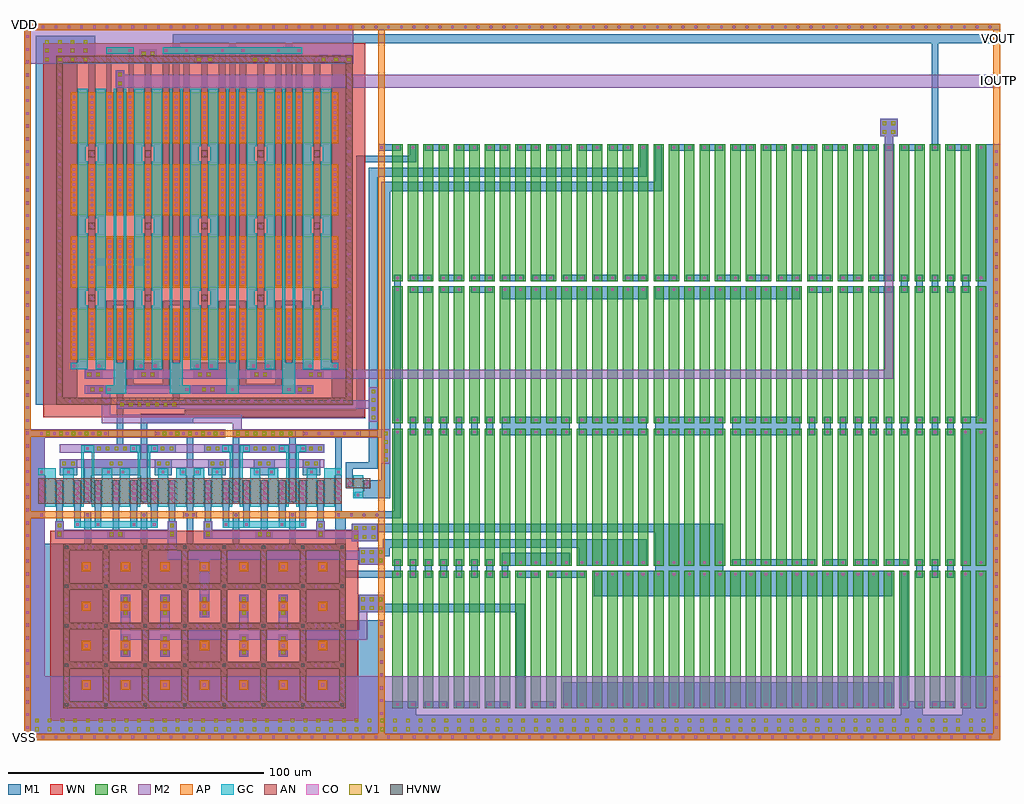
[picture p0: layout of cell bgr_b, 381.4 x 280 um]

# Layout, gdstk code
from math import pi, radians
import gdstk
lib = gdstk.Library(unit=1e-6, precision=1e-07)
def R(c, l, rs):  # rectangles x0, y0, x1, y1
    for r in rs: c.add(gdstk.rectangle(r[:2], r[2:], *l))
def A(c, l, x, y, w, h, nx, ny, dx, dy):  # array of equal rectangles
    R(c, l, [(x+i*dx, y+j*dy, x+i*dx+w, y+j*dy+h) for i in range(nx) for j in range(ny)])
def P(c, l, *ps):  # polygons
    for p in ps: c.add(gdstk.Polygon(p, *l))
AP = (3, 1)
AN = (3, 2)
GC = (8, 1)
GR = (8, 2)
CO = (11, 0)
M1 = (13, 0)
V1 = (19, 0)
M2 = (20, 0)
WN = (140, 0)
HVNW = (141, 0)

via_1 = lib.new_cell('via_1')
R(via_1, M1, [(-1.7,-1.7,1.7,1.7)])
R(via_1, V1, [(-0.7,-0.7,0.7,0.7)])
R(via_1, M2, [(-1.7,-1.7,1.7,1.7)])

res_poly = lib.new_cell('res_poly')
R(res_poly, GR, [(-26.8,-2,26.8,2)])
R(res_poly, CO, [(-26,-0.5,-25,0.5), (25,-0.5,26,0.5)])
R(res_poly, M1, [(-26.8,-1.3,-24.2,1.3), (24.2,-1.3,26.8,1.3)])

cont_p = lib.new_cell('cont_p')
R(cont_p, AP, [(-1.3,-1.3,1.3,1.3)])
R(cont_p, CO, [(-0.5,-0.5,0.5,0.5)])
R(cont_p, M1, [(-1.3,-1.3,1.3,1.3)])

cont_n_1 = lib.new_cell('cont_n$1')
R(cont_n_1, AN, [(-1.3,-1.3,1.3,1.3)])
R(cont_n_1, CO, [(-0.5,-0.5,0.5,0.5)])
R(cont_n_1, M1, [(-1.3,-1.3,1.3,1.3)])

fet_p_1 = lib.new_cell('fet_p$1')
R(fet_p_1, AP, [(-4.8,-10,4.8,10)])
A(fet_p_1, CO, -4, -8.5, 1, 1, 1, 9, 0, 2)
A(fet_p_1, CO, 3, -8.5, 1, 1, 1, 9, 0, 2)
R(fet_p_1, M1, [(-4.8,-9.3,-2.2,9.3), (2.2,-9.3,4.8,9.3)])
fet_p_1.add(gdstk.FlexPath([(0,-11.2),(0,11.2)], 4, ends="flush", simple_path=True, layer=8, datatype=1))  # GC

fet_p = lib.new_cell('fet_p')
R(fet_p, AP, [(-3.3,-10,3.3,10)])
A(fet_p, CO, -2.5, -8.5, 1, 1, 1, 9, 0, 2)
A(fet_p, CO, 1.5, -8.5, 1, 1, 1, 9, 0, 2)
R(fet_p, M1, [(-3.3,-9.3,-0.7,9.3), (0.7,-9.3,3.3,9.3)])
fet_p.add(gdstk.FlexPath([(0,-11.2),(0,11.2)], 1, ends="flush", simple_path=True, layer=8, datatype=1))  # GC

cont_g = lib.new_cell('cont_g')
R(cont_g, GC, [(-1.3,-1.3,1.3,1.3)])
R(cont_g, CO, [(-0.5,-0.5,0.5,0.5)])
R(cont_g, M1, [(-1.3,-1.3,1.3,1.3)])

fet_n_1 = lib.new_cell('fet_n$1')
R(fet_n_1, AN, [(-4.8,-5,4.8,5)])
A(fet_n_1, CO, -4, -3.5, 1, 1, 1, 4, 0, 2)
A(fet_n_1, CO, 3, -3.5, 1, 1, 1, 4, 0, 2)
R(fet_n_1, M1, [(-4.8,-4.3,-2.2,4.3), (2.2,-4.3,4.8,4.3)])
fet_n_1.add(gdstk.FlexPath([(0,-6.2),(0,6.2)], 4, ends="flush", simple_path=True, layer=8, datatype=1))  # GC

cont_n = lib.new_cell('cont_n')
R(cont_n, AN, [(-1.3,-1.3,1.3,1.3)])
R(cont_n, CO, [(-0.5,-0.5,0.5,0.5)])
R(cont_n, M1, [(-1.3,-1.3,1.3,1.3)])

diode_p = lib.new_cell('diode_p')
R(diode_p, AP, [(-1.8,-1.8,1.8,1.8)])
R(diode_p, CO, [(-0.6,-0.6,0.6,0.6)])
R(diode_p, M1, [(-1.8,-1.8,1.8,1.8)])

c_dp = lib.new_cell('dp')
P(c_dp, AN, [(-9,-9),(-9,-3.9),(-6.4,-3.9),(-6.4,-6.4),(-3.9,-6.4),(-3.9,-9)],
  [(3.9,-9),(3.9,-6.4),(6.4,-6.4),(6.4,-3.9),(9,-3.9),(9,-9)],
  [(-9,3.9),(-9,9),(-3.9,9),(-3.9,6.4),(-6.4,6.4),(-6.4,3.9)],
  [(6.4,3.9),(6.4,6.4),(3.9,6.4),(3.9,9),(9,9),(9,3.9)])
P(c_dp, M1, [(-9,-9),(-9,-3.9),(-6.4,-3.9),(-6.4,-6.4),(-3.9,-6.4),(-3.9,-9)],
  [(3.9,-9),(3.9,-6.4),(6.4,-6.4),(6.4,-3.9),(9,-3.9),(9,-9)],
  [(-9,3.9),(-9,9),(-3.9,9),(-3.9,6.4),(-6.4,6.4),(-6.4,3.9)],
  [(6.4,3.9),(6.4,6.4),(3.9,6.4),(3.9,9),(9,9),(9,3.9)])
R(c_dp, WN, [(-14,-14,14,14)])
r = gdstk.Reference(cont_n, (-7.7,-2.6)); r.repetition = gdstk.Repetition(1, 3, v1=(0,0), v2=(0,2.6)); c_dp.add(r)
r = gdstk.Reference(cont_n, (7.7,-2.6)); r.repetition = gdstk.Repetition(1, 3, v1=(0,0), v2=(0,2.6)); c_dp.add(r)
r = gdstk.Reference(cont_n, (-2.6,-7.7)); r.repetition = gdstk.Repetition(3, 1, v1=(2.6,0), v2=(0,0)); c_dp.add(r)
r = gdstk.Reference(cont_n, (-2.6,7.7)); r.repetition = gdstk.Repetition(3, 1, v1=(2.6,0), v2=(0,0)); c_dp.add(r)
c_dp.add(gdstk.Reference(diode_p, (0,0)))
c_dp.add(gdstk.Label('PLUS', (0,0), layer=48, texttype=0))
c_dp.add(gdstk.Label('MINUS', (0,-6.7), layer=48, texttype=0))

fet_n = lib.new_cell('fet_n')
R(fet_n, AN, [(-3.3,-5,3.3,5)])
A(fet_n, CO, -2.5, -3.5, 1, 1, 1, 4, 0, 2)
A(fet_n, CO, 1.5, -3.5, 1, 1, 1, 4, 0, 2)
R(fet_n, M1, [(-3.3,-4.3,-0.7,4.3), (0.7,-4.3,3.3,4.3)])
fet_n.add(gdstk.FlexPath([(0,-6.2),(0,6.2)], 1, ends="flush", simple_path=True, layer=8, datatype=1))  # GC

fet_n_2 = lib.new_cell('fet_n$2')
R(fet_n_2, AN, [(-4.8,-2,4.8,2)])
R(fet_n_2, CO, [(-4,-0.5,-3,0.5), (3,-0.5,4,0.5)])
R(fet_n_2, M1, [(-4.8,-1.3,-2.2,1.3), (2.2,-1.3,4.8,1.3)])
fet_n_2.add(gdstk.FlexPath([(0,-3.2),(0,3.2)], 4, ends="flush", simple_path=True, layer=8, datatype=1))  # GC

bgr_b = lib.new_cell('bgr_b')
P(bgr_b, AP, [(0,0),(0,277.4),(2.6,277.4),(2.6,2.6),(138.4,2.6),(138.4,86.8),(2.6,86.8),(2.6,89.4),(138.4,89.4),(138.4,118.6),(2.6,118.6),(2.6,121.2),(138.4,121.2),(138.4,277.4),(141,277.4),(141,2.6),(378.8,2.6),(378.8,277.4),(0,277.4),(0,280),(381.4,280),(381.4,0)])
P(bgr_b, AN, [(12.6,131.2),(12.6,264.8),(15.2,264.8),(15.2,133.8),(125.8,133.8),(125.8,264.8),(12.6,264.8),(12.6,267.4),(128.4,267.4),(128.4,131.2)])
A(bgr_b, GC, 52.4, 103.6, 4, 2.6, 4, 1, 7, 0)
R(bgr_b, GC, [(19.6,83,52.2,85.6), (77.6,83,110.2,85.6), (128.6,94.6,132.6,97.2), (5.6,103.6,12.4,106.2), (15.4,103.6,19.4,106.2), (30.4,103.6,34.4,106.2), (37.4,103.6,41.4,106.2), (88.4,103.6,92.4,106.2), (95.4,103.6,99.4,106.2), (110.4,103.6,114.4,106.2), (117.4,103.6,124.2,106.2), (18.2,144.9,25,147.5), (28,144.9,32,147.5), (43,144.9,47,147.5), (50,144.9,54,147.5), (65,144.9,69,147.5), (72,144.9,76,147.5), (87,144.9,91,147.5), (94,144.9,98,147.5), (109,144.9,113,147.5), (109,144.9,113,147.5), (116,144.9,122.8,147.5), (21,169.9,24.2,232.1), (28.8,169.9,32,232.1), (43,169.9,46.2,232.1), (50.8,169.9,54,232.1), (65,169.9,68.2,232.1), (72.8,169.9,76,232.1), (87,169.9,90.2,232.1), (94.8,169.9,98,232.1), (109,169.9,112.2,232.1), (116.8,169.9,120,232.1), (32.2,268.3,42.8,270.9), (54.2,268.3,108.8,270.9)])
P(bgr_b, GC, [(32,135.4),(32,138.8),(35,138.8),(35,232.1),(36,232.1),(36,147.5),(39,147.5),(39,232.1),(40,232.1),(40,135.4)],
  [(57,135.4),(57,232.1),(58,232.1),(58,147.5),(61,147.5),(61,232.1),(62,232.1),(62,138.8),(65,138.8),(65,135.4)],
  [(79,135.4),(79,232.1),(80,232.1),(80,147.5),(83,147.5),(83,232.1),(84,232.1),(84,135.4)],
  [(101,135.4),(101,232.1),(102,232.1),(102,147.5),(105,147.5),(105,232.1),(106,232.1),(106,135.4)],
  [(22.4,103.6),(22.4,115.3),(27.4,115.3),(27.4,103.6),(26.4,103.6),(26.4,112.7),(23.4,112.7),(23.4,103.6)],
  [(48.4,103.6),(48.4,115.3),(52.3,115.3),(52.3,112.7),(49.4,112.7),(49.4,103.6)],
  [(44.4,103.6),(44.4,112.7),(41.5,112.7),(41.5,115.3),(45.4,115.3),(45.4,103.6)],
  [(84.4,103.6),(84.4,115.3),(88.3,115.3),(88.3,112.7),(85.4,112.7),(85.4,103.6)],
  [(80.4,103.6),(80.4,112.7),(77.5,112.7),(77.5,115.3),(81.4,115.3),(81.4,103.6)],
  [(106.4,103.6),(106.4,115.3),(110.3,115.3),(110.3,112.7),(107.4,112.7),(107.4,103.6)],
  [(102.4,103.6),(102.4,112.7),(99.5,112.7),(99.5,115.3),(103.4,115.3),(103.4,103.6)])
A(bgr_b, M1, 159.3, 12.6, 3.4, 2.6, 3, 1, 12, 0)
A(bgr_b, M1, 37.9, 48, 3.6, 8.8, 5, 1, 15.4, 0)
A(bgr_b, M1, 150.7, 66.2, 2.6, 2, 6, 2, 6, 55.6)
A(bgr_b, M1, 348.7, 66.2, 2.6, 2, 3, 1, 6, 0)
A(bgr_b, M1, 315.3, 68.2, 3.4, 2.6, 3, 1, 12, 0)
A(bgr_b, M1, 12.6, 78.8, 2.6, 14.3, 3, 1, 22, 0)
A(bgr_b, M1, 70.6, 78.8, 2.6, 14.3, 3, 1, 22, 0)
A(bgr_b, M1, 186.7, 119.2, 26.6, 7.2, 4, 1, 30, 0)
A(bgr_b, M1, 306.7, 121.8, 2.6, 2, 10, 1, 6, 0)
A(bgr_b, M1, 153.3, 174.8, 3.4, 2.6, 3, 1, 12, 0)
A(bgr_b, M1, 309.3, 174.8, 3.4, 2.6, 3, 1, 12, 0)
A(bgr_b, M1, 342.7, 177.4, 2.6, 2, 5, 1, 6, 0)
A(bgr_b, M1, 153.3, 179.4, 3.4, 2.6, 16, 1, 12, 0)
A(bgr_b, M1, 159.3, 230.4, 3.4, 2.6, 7, 1, 12, 0)
A(bgr_b, M1, 255.3, 230.4, 3.4, 2.6, 7, 1, 12, 0)
R(bgr_b, M1, [(201.3,12.6,204.7,15.2), (210.7,12.6,339.3,22.6), (357.3,12.6,360.7,15.2), (37.9,32.6,41.5,41.4), (53.3,32.6,56.9,41.4), (84.1,32.6,87.7,41.4), (99.5,32.6,103.1,41.4), (195.3,63.6,198.7,66.2), (207.3,63.6,216.7,66.2), (279.3,68.2,306.7,70.8), (23.6,76.8,26.2,86.8), (45.6,76.8,48.2,86.8), (63.6,76.8,66.2,121.6), (81.6,76.8,84.2,86.8), (103.6,76.8,106.2,86.8), (19.6,83,22.2,93.1), (27.6,83,30.2,93.1), (41.6,83,44.2,93.1), (49.6,83,52.2,93.1), (77.6,83,80.2,93.1), (85.6,83,88.2,93.1), (99.6,83,102.2,93.1), (107.6,83,110.2,93.1), (14,103.6,20.8,109.8), (51,103.6,57.8,109.8), (63.4,103.6,66.4,106.2), (63.4,103.6,66.4,106.2), (72,103.6,78.8,109.8), (89.8,103.6,98,109.8), (109,103.6,115.8,109.8), (23.6,112.3,44.1,115.7), (36.2,112.3,38.8,149.4), (49.7,112.3,59.3,115.7), (70.5,112.3,80.1,115.7), (85.7,112.3,102.1,115.7), (107.7,112.3,117.3,115.7), (5.6,118.2,33.2,121.6), (51.1,118.2,78.7,121.6), (58.2,129.5,60.8,149.4), (25,135.4,34.6,138.8), (62.4,135.4,82.8,138.8), (102.2,135.4,113,138.8), (28,141.3,30.6,147.5), (44.4,141.3,52.6,147.5), (88.4,141.3,96.6,147.5), (25.2,168,27.8,267.4), (47.2,168,49.8,267.4), (69.2,168,71.8,267.8), (91.2,168,93.8,267.8), (113.2,168,115.8,267.4), (186.7,172.4,243.3,177.4), (246.7,172.4,303.3,177.4), (27.8,185.6,47.2,188.2), (54.2,196.2,56.8,270.9), (62.2,196.2,64.8,270.9), (76.2,196.2,78.8,270.9), (84.2,196.2,86.8,270.9), (98.2,196.2,100.8,270.9), (106.2,196.2,108.8,270.9), (32.2,224.4,34.8,252.6), (36.2,224.4,38.8,261.8), (40.2,224.4,42.8,252.6), (141,230.4,144.7,233), (336.3,230.4,339.7,239.4), (345.3,230.4,348.7,233), (363.3,230.4,366.7,233)])
P(bgr_b, M1, [(0,0),(0,58.8),(33.3,58.8),(33.3,30.6),(61.5,30.6),(61.5,46),(79.5,46),(79.5,30.6),(107.7,30.6),(107.7,58.8),(0,58.8),(0,280),(381.4,280),(381.4,277.4),(2.6,277.4),(2.6,121.6),(8.2,121.6),(8.2,76.8),(121.6,76.8),(121.6,89.4),(144.7,89.4),(144.7,182),(147.3,182),(147.3,86.8),(125.7,86.8),(125.7,66.2),(144.7,66.2),(144.7,68.2),(147.3,68.2),(147.3,63.6),(125.7,63.6),(125.7,46.8),(141,46.8),(141,15.2),(153.3,15.2),(153.3,10),(342.7,10),(342.7,63.6),(345.3,63.6),(345.3,15.2),(351.3,15.2),(351.3,10),(366.7,10),(366.7,126.4),(372.7,126.4),(372.7,233),(381.4,233),(381.4,0)],
  [(58.2,196.2),(58.2,275.8),(381.4,275.8),(381.4,272.4),(357.3,272.4),(357.3,233),(354.7,233),(354.7,272.4),(104.8,272.4),(104.8,196.2),(102.2,196.2),(102.2,272.4),(82.8,272.4),(82.8,196.2),(80.2,196.2),(80.2,272.4),(60.8,272.4),(60.8,196.2)],
  [(222.7,56.2),(222.7,66.2),(246.7,66.2),(246.7,81.2),(128,81.2),(128,84.6),(273.3,84.6),(273.3,66.2),(339.3,66.2),(339.3,56.2)],
  [(216.7,68.2),(216.7,75.2),(143,75.2),(143,71.9),(140.2,71.9),(140.2,78.6),(243.3,78.6),(243.3,68.2)],
  [(192.3,12.6),(192.3,50),(130.8,50),(130.8,53.4),(195.7,53.4),(195.7,12.6)],
  [(4.6,131.2),(4.6,275.4),(27.8,275.4),(27.8,264.4),(20.8,264.4),(20.8,133.8),(34.2,133.8),(34.2,131.2)],
  [(62.8,131.2),(62.8,133.8),(120.2,133.8),(120.2,264.8),(113.2,264.8),(113.2,267.4),(128.4,267.4),(128.4,131.2)],
  [(131.9,94.6),(131.9,97.2),(132.8,97.2),(132.8,101.7),(139.7,101.7),(139.7,218.2),(246.7,218.2),(246.7,230.4),(249.3,230.4),(249.3,214.6),(143.1,214.6),(143.1,94.6)],
  [(40.2,250),(40.2,252.6),(41,252.6),(41,270.9),(42.8,270.9),(42.8,250)],
  [(32.2,250),(32.2,270.9),(34,270.9),(34,252.6),(34.8,252.6),(34.8,250)],
  [(66.4,141.3),(66.4,147.5),(80.2,147.5),(80.2,149.4),(82.8,149.4),(82.8,141.3)],
  [(40.2,137.3),(40.2,170),(34.8,170),(34.8,168),(32.2,168),(32.2,171.8),(42.8,171.8),(42.8,139.3),(54.2,139.3),(54.2,171.8),(64.8,171.8),(64.8,168),(62.2,168),(62.2,170),(56.8,170),(56.8,137.3)],
  [(84.2,137.3),(84.2,170),(78.8,170),(78.8,168),(76.2,168),(76.2,171.8),(86.8,171.8),(86.8,139.3),(98.2,139.3),(98.2,171.8),(108.8,171.8),(108.8,168),(106.2,168),(106.2,170),(100.8,170),(100.8,137.3)],
  [(102.2,141.3),(102.2,149.4),(104.8,149.4),(104.8,147.5),(113,147.5),(113,141.3)],
  [(23.6,101.7),(23.6,109.8),(45.6,109.8),(45.6,127.5),(62.8,127.5),(62.8,129.2),(129.9,129.2),(129.9,228.4),(150.7,228.4),(150.7,230.4),(153.3,230.4),(153.3,225.8),(133.3,225.8),(133.3,125.8),(66.2,125.8),(66.2,124.1),(48.2,124.1),(48.2,101.7),(45.6,101.7),(45.6,103.6),(26.2,103.6),(26.2,101.7)],
  [(81.6,101.7),(81.6,121.6),(106.2,121.6),(106.2,101.7),(103.6,101.7),(103.6,118.2),(84.2,118.2),(84.2,101.7)],
  [(121.6,89.4),(121.6,118.6),(109,118.6),(109,121.2),(131.6,121.2),(131.6,118.6),(124.2,118.6),(124.2,89.4)],
  [(125.8,101.7),(125.8,108.7),(134.8,108.7),(134.8,223.8),(240.7,223.8),(240.7,230.4),(243.3,230.4),(243.3,220.2),(138.2,220.2),(138.2,106.1),(128.4,106.1),(128.4,101.7)],
  [(186.7,66.2),(186.7,73.2),(213.3,73.2),(213.3,68.2),(189.3,68.2),(189.3,66.2)])
R(bgr_b, M2, [(37.9,32.6,41.5,41.4), (53.3,32.6,56.9,41.4), (84.1,32.6,87.7,41.4), (37.9,48,41.5,56.8), (53.3,48,56.9,56.8), (84.1,48,87.7,56.8), (99.5,48,103.1,56.8), (73.6,78.8,138.2,82.2), (14,106.4,117.3,109.8), (14,112.3,117.3,115.7), (36.2,129.5,138.2,132.9), (23.8,141.3,339.7,144.7), (336.3,141.3,339.7,239.4), (35.8,255,381.4,260), (0,264.4,128.7,280)])
P(bgr_b, M2, [(0,0),(0,121.6),(78.7,121.6),(78.7,118.2),(8.2,118.2),(8.2,25),(381.4,25),(381.4,0)],
  [(68.7,48),(68.7,70.6),(56.2,70.6),(56.2,78.8),(15.6,78.8),(15.6,82.2),(59.6,82.2),(59.6,74),(141,74),(141,70.6),(72.3,70.6),(72.3,48)],
  [(99.5,32.6),(99.5,39.3),(37.9,39.3),(37.9,48),(41.5,48),(41.5,42.9),(53.3,42.9),(53.3,48),(56.9,48),(56.9,42.9),(84.1,42.9),(84.1,48),(87.7,48),(87.7,42.9),(99.5,42.9),(99.5,48),(103.1,48),(103.1,42.9),(130.8,42.9),(130.8,53.4),(134.2,53.4),(134.2,39.3),(103.1,39.3),(103.1,32.6)],
  [(81.6,118.2),(81.6,123.8),(30.3,123.8),(30.3,135.4),(23.8,135.4),(23.8,138.8),(113,138.8),(113,135.4),(33.7,135.4),(33.7,127.2),(85,127.2),(85,121.6),(143.1,121.6),(143.1,118.2)])
R(bgr_b, WN, [(7.6,126.2,133.4,272.4)])
A(bgr_b, HVNW, 16, 13.3, 1.2, 1.2, 8, 5, 15.4, 15.4)
r = gdstk.Reference(via_1, (5,4.3)); r.repetition = gdstk.Repetition(75, 2, v1=(5,0), v2=(0,3.4)); bgr_b.add(r)
r = gdstk.Reference(res_poly, (146,206.2), rotation=3*pi/2); r.repetition = gdstk.Repetition(4, 39, v1=(0,-55.6), v2=(6,0)); bgr_b.add(r)
r = gdstk.Reference(cont_p, (2.5,1.3)); r.repetition = gdstk.Repetition(76, 1, v1=(5,0), v2=(0,0)); bgr_b.add(r)
r = gdstk.Reference(cont_p, (1.3,5)); r.repetition = gdstk.Repetition(1, 55, v1=(0,0), v2=(0,5)); bgr_b.add(r)
r = gdstk.Reference(cont_p, (380.1,5)); r.repetition = gdstk.Repetition(1, 46, v1=(0,0), v2=(0,5)); bgr_b.add(r)
r = gdstk.Reference(cont_p, (2.5,278.7)); r.repetition = gdstk.Repetition(76, 1, v1=(5,0), v2=(0,0)); bgr_b.add(r)
r = gdstk.Reference(cont_n_1, (127.1,135.1)); r.repetition = gdstk.Repetition(1, 26, v1=(0,0), v2=(0,5)); bgr_b.add(r)
r = gdstk.Reference(cont_n_1, (13.9,135.1)); r.repetition = gdstk.Repetition(1, 26, v1=(0,0), v2=(0,5)); bgr_b.add(r)
r = gdstk.Reference(via_1, (336.3,237.7)); r.repetition = gdstk.Repetition(2, 2, v1=(3.4,0), v2=(0,3.4)); bgr_b.add(r)
r = gdstk.Reference(via_1, (90.8,143)); r.repetition = gdstk.Repetition(2, 1, v1=(3.4,0), v2=(0,0)); bgr_b.add(r)
bgr_b.add(gdstk.Reference(fet_p_1, (96,243.3)))
bgr_b.add(gdstk.Reference(fet_p_1, (118,215.1)))
r = gdstk.Reference(cont_n_1, (26.5,172.8)); r.repetition = gdstk.Repetition(5, 3, v1=(22,0), v2=(0,28.2)); bgr_b.add(r)
bgr_b.add(gdstk.Reference(fet_p_1, (96,158.7)))
bgr_b.add(gdstk.Reference(fet_p_1, (74,215.1)))
bgr_b.add(gdstk.Reference(fet_p, (79.5,215.1)))
bgr_b.add(gdstk.Reference(fet_p, (83.5,215.1)))
bgr_b.add(gdstk.Reference(fet_p_1, (89,215.1)))
bgr_b.add(gdstk.Reference(fet_p_1, (96,215.1)))
bgr_b.add(gdstk.Reference(fet_p, (101.5,215.1)))
bgr_b.add(gdstk.Reference(fet_p, (105.5,215.1)))
bgr_b.add(gdstk.Reference(fet_p_1, (111,215.1)))
bgr_b.add(gdstk.Reference(fet_p_1, (96,186.9)))
bgr_b.add(gdstk.Reference(fet_p_1, (67,215.1)))
bgr_b.add(gdstk.Reference(fet_p, (61.5,215.1)))
bgr_b.add(gdstk.Reference(fet_p, (57.5,215.1)))
bgr_b.add(gdstk.Reference(fet_p_1, (52,215.1)))
bgr_b.add(gdstk.Reference(fet_p_1, (23,215.1)))
bgr_b.add(gdstk.Reference(fet_p_1, (30,215.1)))
bgr_b.add(gdstk.Reference(fet_p, (35.5,215.1)))
bgr_b.add(gdstk.Reference(fet_p, (39.5,215.1)))
bgr_b.add(gdstk.Reference(fet_p_1, (45,215.1)))
bgr_b.add(gdstk.Reference(cont_g, (95.3,146.2)))
r = gdstk.Reference(via_1, (90.3,266.1)); r.repetition = gdstk.Repetition(2, 1, v1=(4.4,0), v2=(0,0)); bgr_b.add(r)
r = gdstk.Reference(cont_n_1, (114.5,266.1)); r.repetition = gdstk.Repetition(3, 1, v1=(5,0), v2=(0,0)); bgr_b.add(r)
bgr_b.add(gdstk.Reference(cont_p, (139.7,231.7)))
bgr_b.add(gdstk.Reference(fet_p, (105.5,243.3)))
bgr_b.add(gdstk.Reference(fet_p_1, (118,243.3)))
r = gdstk.Reference(cont_g, (99.5,269.6)); r.repetition = gdstk.Repetition(2, 1, v1=(8,0), v2=(0,0)); bgr_b.add(r)
bgr_b.add(gdstk.Reference(fet_p_1, (111,243.3)))
bgr_b.add(gdstk.Reference(fet_p, (101.5,243.3)))
r = gdstk.Reference(via_1, (117,266.1)); r.repetition = gdstk.Repetition(3, 1, v1=(5,0), v2=(0,0)); bgr_b.add(r)
r = gdstk.Reference(cont_g, (55.5,269.6)); r.repetition = gdstk.Repetition(2, 1, v1=(8,0), v2=(0,0)); bgr_b.add(r)
r = gdstk.Reference(cont_g, (77.5,269.6)); r.repetition = gdstk.Repetition(2, 1, v1=(8,0), v2=(0,0)); bgr_b.add(r)
r = gdstk.Reference(cont_g, (33.5,269.6)); r.repetition = gdstk.Repetition(2, 1, v1=(8,0), v2=(0,0)); bgr_b.add(r)
bgr_b.add(gdstk.Reference(fet_p, (35.5,243.3)))
bgr_b.add(gdstk.Reference(fet_p, (39.5,243.3)))
bgr_b.add(gdstk.Reference(fet_p_1, (45,243.3)))
bgr_b.add(gdstk.Reference(fet_p_1, (74,243.3)))
bgr_b.add(gdstk.Reference(fet_p, (79.5,243.3)))
bgr_b.add(gdstk.Reference(fet_p, (83.5,243.3)))
r = gdstk.Reference(cont_n_1, (70.5,266.1)); r.repetition = gdstk.Repetition(1, 1, v1=(0,0), v2=(0,0)); bgr_b.add(r)
bgr_b.add(gdstk.Reference(fet_p_1, (89,243.3)))
r = gdstk.Reference(cont_n_1, (16.5,266.1)); r.repetition = gdstk.Repetition(3, 1, v1=(5,0), v2=(0,0)); bgr_b.add(r)
bgr_b.add(gdstk.Reference(fet_p_1, (67,243.3)))
bgr_b.add(gdstk.Reference(fet_p, (61.5,243.3)))
bgr_b.add(gdstk.Reference(fet_p, (57.5,243.3)))
bgr_b.add(gdstk.Reference(fet_p_1, (52,243.3)))
bgr_b.add(gdstk.Reference(fet_p_1, (23,243.3)))
bgr_b.add(gdstk.Reference(fet_p_1, (30,243.3)))
r = gdstk.Reference(via_1, (37.5,256.7)); r.repetition = gdstk.Repetition(1, 2, v1=(0,0), v2=(0,3.4)); bgr_b.add(r)
r = gdstk.Reference(via_1, (46.8,268.3)); r.repetition = gdstk.Repetition(2, 1, v1=(3.4,0), v2=(0,0)); bgr_b.add(r)
r = gdstk.Reference(via_1, (68.3,266.1)); r.repetition = gdstk.Repetition(2, 1, v1=(4.4,0), v2=(0,0)); bgr_b.add(r)
r = gdstk.Reference(cont_n_1, (48.5,266.1)); r.repetition = gdstk.Repetition(1, 1, v1=(0,0), v2=(0,0)); bgr_b.add(r)
r = gdstk.Reference(cont_n_1, (92.5,266.1)); r.repetition = gdstk.Repetition(1, 1, v1=(0,0), v2=(0,0)); bgr_b.add(r)
r = gdstk.Reference(via_1, (9,266.1)); r.repetition = gdstk.Repetition(4, 3, v1=(5,0), v2=(0,3.4)); bgr_b.add(r)
bgr_b.add(gdstk.Reference(fet_p, (79.5,158.7)))
bgr_b.add(gdstk.Reference(fet_p_1, (30,158.7)))
bgr_b.add(gdstk.Reference(fet_p, (35.5,158.7)))
bgr_b.add(gdstk.Reference(fet_p, (39.5,158.7)))
bgr_b.add(gdstk.Reference(fet_p_1, (45,158.7)))
bgr_b.add(gdstk.Reference(fet_p_1, (52,186.9)))
bgr_b.add(gdstk.Reference(fet_p_1, (74,158.7)))
bgr_b.add(gdstk.Reference(fet_p_1, (67,186.9)))
bgr_b.add(gdstk.Reference(fet_p, (83.5,158.7)))
bgr_b.add(gdstk.Reference(fet_p_1, (23,186.9)))
bgr_b.add(gdstk.Reference(fet_p, (61.5,186.9)))
bgr_b.add(gdstk.Reference(fet_p, (57.5,186.9)))
bgr_b.add(gdstk.Reference(fet_p_1, (89,158.7)))
bgr_b.add(gdstk.Reference(fet_p_1, (30,186.9)))
bgr_b.add(gdstk.Reference(fet_p_1, (67,158.7)))
bgr_b.add(gdstk.Reference(fet_p, (61.5,158.7)))
bgr_b.add(gdstk.Reference(fet_p, (57.5,158.7)))
bgr_b.add(gdstk.Reference(fet_p_1, (52,158.7)))
bgr_b.add(gdstk.Reference(fet_p, (35.5,186.9)))
bgr_b.add(gdstk.Reference(fet_p_1, (74,186.9)))
bgr_b.add(gdstk.Reference(fet_p, (79.5,186.9)))
bgr_b.add(gdstk.Reference(fet_p, (39.5,186.9)))
bgr_b.add(gdstk.Reference(cont_g, (29.3,146.2)))
bgr_b.add(gdstk.Reference(cont_g, (67.7,146.2)))
bgr_b.add(gdstk.Reference(cont_g, (51.3,146.2)))
bgr_b.add(gdstk.Reference(cont_g, (45.7,146.2)))
r = gdstk.Reference(via_1, (46.8,143)); r.repetition = gdstk.Repetition(2, 1, v1=(3.4,0), v2=(0,0)); bgr_b.add(r)
bgr_b.add(gdstk.Reference(cont_g, (89.7,146.2)))
bgr_b.add(gdstk.Reference(cont_g, (19.5,146.2)))
bgr_b.add(gdstk.Reference(cont_g, (73.3,146.2)))
bgr_b.add(gdstk.Reference(fet_p, (83.5,186.9)))
bgr_b.add(gdstk.Reference(fet_p_1, (89,186.9)))
bgr_b.add(gdstk.Reference(fet_p_1, (45,186.9)))
bgr_b.add(gdstk.Reference(fet_p_1, (23,158.7)))
r = gdstk.Reference(via_1, (68.8,143)); r.repetition = gdstk.Repetition(2, 1, v1=(3.4,0), v2=(0,0)); bgr_b.add(r)
r = gdstk.Reference(via_1, (25.5,143)); r.repetition = gdstk.Repetition(2, 1, v1=(3.4,0), v2=(0,0)); bgr_b.add(r)
bgr_b.add(gdstk.Reference(cont_g, (111.7,146.2)))
bgr_b.add(gdstk.Reference(fet_p_1, (118,186.9)))
bgr_b.add(gdstk.Reference(fet_p, (101.5,186.9)))
bgr_b.add(gdstk.Reference(fet_p_1, (111,186.9)))
bgr_b.add(gdstk.Reference(fet_p, (105.5,186.9)))
bgr_b.add(gdstk.Reference(fet_p, (105.5,158.7)))
bgr_b.add(gdstk.Reference(cont_g, (121.5,146.2)))
r = gdstk.Reference(via_1, (112.1,143)); r.repetition = gdstk.Repetition(2, 1, v1=(3.4,0), v2=(0,0)); bgr_b.add(r)
bgr_b.add(gdstk.Reference(fet_p_1, (111,158.7)))
bgr_b.add(gdstk.Reference(fet_p_1, (118,158.7)))
bgr_b.add(gdstk.Reference(fet_p, (101.5,158.7)))
r = gdstk.Reference(cont_n_1, (64.1,132.5)); r.repetition = gdstk.Repetition(13, 1, v1=(5,0), v2=(0,0)); bgr_b.add(r)
bgr_b.add(gdstk.Reference(fet_n_1, (97.4,97.4)))
r = gdstk.Reference(via_1, (92.2,108.1)); r.repetition = gdstk.Repetition(2, 1, v1=(3.4,0), v2=(0,0)); bgr_b.add(r)
r = gdstk.Reference(via_1, (90.5,114)); r.repetition = gdstk.Repetition(3, 1, v1=(3.4,0), v2=(0,0)); bgr_b.add(r)
r = gdstk.Reference(c_dp, (24.3,21.6)); r.repetition = gdstk.Repetition(7, 4, v1=(15.4,0), v2=(0,15.4)); bgr_b.add(r)
r = gdstk.Reference(via_1, (83.7,119.9)); r.repetition = gdstk.Repetition(7, 1, v1=(3.4,0), v2=(0,0)); bgr_b.add(r)
r = gdstk.Reference(via_1, (92.2,80.5)); r.repetition = gdstk.Repetition(2, 1, v1=(3.4,0), v2=(0,0)); bgr_b.add(r)
r = gdstk.Reference(via_1, (132.5,70.2)); r.repetition = gdstk.Repetition(3, 2, v1=(3.4,0), v2=(0,3.4)); bgr_b.add(r)
bgr_b.add(gdstk.Reference(cont_g, (96.7,104.9)))
r = gdstk.Reference(via_1, (110.7,108.1)); r.repetition = gdstk.Repetition(2, 1, v1=(3.4,0), v2=(0,0)); bgr_b.add(r)
bgr_b.add(gdstk.Reference(cont_g, (109,114)))
bgr_b.add(gdstk.Reference(cont_g, (103.5,137.1)))
bgr_b.add(gdstk.Reference(cont_p, (104.9,88.1)))
r = gdstk.Reference(via_1, (136.5,126.1)); r.repetition = gdstk.Repetition(1, 4, v1=(0,0), v2=(0,3.4)); bgr_b.add(r)
bgr_b.add(gdstk.Reference(fet_n, (102.9,97.4)))
r = gdstk.Reference(via_1, (112.2,114)); r.repetition = gdstk.Repetition(2, 1, v1=(3.4,0), v2=(0,0)); bgr_b.add(r)
r = gdstk.Reference(via_1, (107.9,137.1)); r.repetition = gdstk.Repetition(2, 1, v1=(3.4,0), v2=(0,0)); bgr_b.add(r)
r = gdstk.Reference(via_1, (141.4,109.7)); r.repetition = gdstk.Repetition(1, 4, v1=(0,0), v2=(0,3.4)); bgr_b.add(r)
bgr_b.add(gdstk.Reference(cont_g, (130.6,95.9)))
bgr_b.add(gdstk.Reference(fet_n_1, (112.4,97.4)))
r = gdstk.Reference(via_1, (115.9,80.5)); r.repetition = gdstk.Repetition(1, 2, v1=(0,0), v2=(0,3.4)); bgr_b.add(r)
bgr_b.add(gdstk.Reference(fet_n, (106.9,97.4)))
bgr_b.add(gdstk.Reference(fet_n_1, (119.4,97.4)))
bgr_b.add(gdstk.Reference(cont_g, (112.4,104.9)))
r = gdstk.Reference(cont_p, (110.3,119.9)); r.repetition = gdstk.Repetition(5, 1, v1=(5,0), v2=(0,0)); bgr_b.add(r)
bgr_b.add(gdstk.Reference(cont_g, (100.8,114)))
r = gdstk.Reference(cont_g, (100.9,84.3)); r.repetition = gdstk.Repetition(2, 1, v1=(8,0), v2=(0,0)); bgr_b.add(r)
bgr_b.add(gdstk.Reference(cont_g, (122.9,104.9)))
bgr_b.add(gdstk.Reference(fet_n_2, (130.6,100.4)))
r = gdstk.Reference(via_1, (129.7,79.5)); r.repetition = gdstk.Repetition(3, 2, v1=(3.4,0), v2=(0,3.4)); bgr_b.add(r)
r = gdstk.Reference(cont_p, (122.9,88.1)); r.repetition = gdstk.Repetition(4, 1, v1=(5,0), v2=(0,0)); bgr_b.add(r)
bgr_b.add(gdstk.Reference(fet_n_1, (90.4,97.4)))
r = gdstk.Reference(cont_p, (63.6,88.1)); r.repetition = gdstk.Repetition(2, 1, v1=(2.6,0), v2=(0,0)); bgr_b.add(r)
bgr_b.add(gdstk.Reference(cont_g, (87,114)))
bgr_b.add(gdstk.Reference(cont_g, (63.7,137.1)))
bgr_b.add(gdstk.Reference(cont_g, (38.7,104.9)))
bgr_b.add(gdstk.Reference(cont_g, (75.4,104.9)))
r = gdstk.Reference(cont_g, (78.9,84.3)); r.repetition = gdstk.Repetition(2, 1, v1=(8,0), v2=(0,0)); bgr_b.add(r)
bgr_b.add(gdstk.Reference(fet_n_1, (68.4,97.4)))
bgr_b.add(gdstk.Reference(cont_g, (81.5,137.1)))
bgr_b.add(gdstk.Reference(fet_n_1, (39.4,97.4)))
r = gdstk.Reference(via_1, (29.3,114)); r.repetition = gdstk.Repetition(4, 1, v1=(3.4,0), v2=(0,0)); bgr_b.add(r)
r = gdstk.Reference(via_1, (54.2,114)); r.repetition = gdstk.Repetition(2, 1, v1=(3.4,0), v2=(0,0)); bgr_b.add(r)
bgr_b.add(gdstk.Reference(cont_g, (54.4,104.9)))
bgr_b.add(gdstk.Reference(cont_g, (62.1,104.9)))
bgr_b.add(gdstk.Reference(fet_n, (48.9,97.4)))
bgr_b.add(gdstk.Reference(cont_g, (91.1,104.9)))
bgr_b.add(gdstk.Reference(fet_n_1, (54.4,97.4)))
bgr_b.add(gdstk.Reference(fet_n_1, (75.4,97.4)))
bgr_b.add(gdstk.Reference(fet_n, (80.9,97.4)))
bgr_b.add(gdstk.Reference(cont_p, (82.9,88.1)))
r = gdstk.Reference(via_1, (72.2,114)); r.repetition = gdstk.Repetition(2, 1, v1=(3.4,0), v2=(0,0)); bgr_b.add(r)
bgr_b.add(gdstk.Reference(cont_p, (46.9,88.1)))
r = gdstk.Reference(via_1, (70.3,137.1)); r.repetition = gdstk.Repetition(2, 1, v1=(3.4,0), v2=(0,0)); bgr_b.add(r)
bgr_b.add(gdstk.Reference(fet_n, (84.9,97.4)))
r = gdstk.Reference(cont_g, (42.9,84.3)); r.repetition = gdstk.Repetition(2, 1, v1=(8,0), v2=(0,0)); bgr_b.add(r)
r = gdstk.Reference(cont_g, (20.9,84.3)); r.repetition = gdstk.Repetition(2, 1, v1=(8,0), v2=(0,0)); bgr_b.add(r)
bgr_b.add(gdstk.Reference(cont_g, (51,114)))
bgr_b.add(gdstk.Reference(cont_g, (78.8,114)))
bgr_b.add(gdstk.Reference(cont_g, (67.7,104.9)))
bgr_b.add(gdstk.Reference(fet_n_1, (61.4,97.4)))
bgr_b.add(gdstk.Reference(fet_n, (44.9,97.4)))
bgr_b.add(gdstk.Reference(cont_g, (33.1,104.9)))
bgr_b.add(gdstk.Reference(fet_n_1, (32.4,97.4)))
r = gdstk.Reference(cont_p, (52.4,119.9)); r.repetition = gdstk.Repetition(6, 1, v1=(5,0), v2=(0,0)); bgr_b.add(r)
r = gdstk.Reference(via_1, (34.2,108.1)); r.repetition = gdstk.Repetition(2, 1, v1=(3.4,0), v2=(0,0)); bgr_b.add(r)
r = gdstk.Reference(via_1, (57.9,80.5)); r.repetition = gdstk.Repetition(1, 2, v1=(0,0), v2=(0,3.4)); bgr_b.add(r)
r = gdstk.Reference(via_1, (71.9,80.5)); r.repetition = gdstk.Repetition(1, 2, v1=(0,0), v2=(0,3.4)); bgr_b.add(r)
r = gdstk.Reference(via_1, (34.2,80.5)); r.repetition = gdstk.Repetition(2, 1, v1=(3.4,0), v2=(0,0)); bgr_b.add(r)
r = gdstk.Reference(cont_n_1, (17.9,132.5)); r.repetition = gdstk.Repetition(4, 1, v1=(5,0), v2=(0,0)); bgr_b.add(r)
r = gdstk.Reference(via_1, (13.9,80.5)); r.repetition = gdstk.Repetition(1, 2, v1=(0,0), v2=(0,3.4)); bgr_b.add(r)
bgr_b.add(gdstk.Reference(fet_n, (22.9,97.4)))
bgr_b.add(gdstk.Reference(fet_n_1, (17.4,97.4)))
bgr_b.add(gdstk.Reference(cont_p, (24.9,88.1)))
r = gdstk.Reference(via_1, (54.9,119.9)); r.repetition = gdstk.Repetition(5, 1, v1=(5,0), v2=(0,0)); bgr_b.add(r)
bgr_b.add(gdstk.Reference(cont_p, (6.9,88.1)))
r = gdstk.Reference(via_1, (52.7,108.1)); r.repetition = gdstk.Repetition(2, 1, v1=(3.4,0), v2=(0,0)); bgr_b.add(r)
r = gdstk.Reference(cont_p, (6.9,119.9)); r.repetition = gdstk.Repetition(6, 1, v1=(5,0), v2=(0,0)); bgr_b.add(r)
r = gdstk.Reference(via_1, (9.4,119.9)); r.repetition = gdstk.Repetition(5, 1, v1=(5,0), v2=(0,0)); bgr_b.add(r)
r = gdstk.Reference(via_1, (38.3,131.2)); r.repetition = gdstk.Repetition(7, 1, v1=(3.4,0), v2=(0,0)); bgr_b.add(r)
r = gdstk.Reference(via_1, (73.7,108.1)); r.repetition = gdstk.Repetition(2, 1, v1=(3.4,0), v2=(0,0)); bgr_b.add(r)
bgr_b.add(gdstk.Reference(fet_n, (26.9,97.4)))
bgr_b.add(gdstk.Reference(cont_g, (24.9,114)))
bgr_b.add(gdstk.Reference(cont_g, (17.4,104.9)))
bgr_b.add(gdstk.Reference(cont_g, (33.3,137.1)))
bgr_b.add(gdstk.Reference(cont_g, (6.9,104.9)))
bgr_b.add(gdstk.Reference(cont_g, (42.8,114)))
r = gdstk.Reference(via_1, (26.7,137.1)); r.repetition = gdstk.Repetition(2, 1, v1=(3.4,0), v2=(0,0)); bgr_b.add(r)
r = gdstk.Reference(via_1, (15.7,108.1)); r.repetition = gdstk.Repetition(2, 1, v1=(3.4,0), v2=(0,0)); bgr_b.add(r)
bgr_b.add(gdstk.Reference(fet_n_1, (10.4,97.4)))
r = gdstk.Reference(via_1, (55.1,49.7)); r.repetition = gdstk.Repetition(1, 2, v1=(0,0), v2=(0,5.4)); bgr_b.add(r)
r = gdstk.Reference(via_1, (70.5,49.7)); r.repetition = gdstk.Repetition(1, 2, v1=(0,0), v2=(0,5.4)); bgr_b.add(r)
r = gdstk.Reference(via_1, (85.9,34.3)); r.repetition = gdstk.Repetition(1, 2, v1=(0,0), v2=(0,5.4)); bgr_b.add(r)
r = gdstk.Reference(via_1, (85.9,49.7)); r.repetition = gdstk.Repetition(1, 2, v1=(0,0), v2=(0,5.4)); bgr_b.add(r)
r = gdstk.Reference(via_1, (39.7,34.3)); r.repetition = gdstk.Repetition(1, 2, v1=(0,0), v2=(0,5.4)); bgr_b.add(r)
r = gdstk.Reference(via_1, (55.1,34.3)); r.repetition = gdstk.Repetition(1, 2, v1=(0,0), v2=(0,5.4)); bgr_b.add(r)
r = gdstk.Reference(via_1, (39.7,49.7)); r.repetition = gdstk.Repetition(1, 2, v1=(0,0), v2=(0,5.4)); bgr_b.add(r)
r = gdstk.Reference(via_1, (101.3,34.3)); r.repetition = gdstk.Repetition(1, 2, v1=(0,0), v2=(0,5.4)); bgr_b.add(r)
r = gdstk.Reference(cont_p, (139.7,10.5)); r.repetition = gdstk.Repetition(1, 8, v1=(0,0), v2=(0,5)); bgr_b.add(r)
r = gdstk.Reference(via_1, (101.3,49.7)); r.repetition = gdstk.Repetition(1, 2, v1=(0,0), v2=(0,5.4)); bgr_b.add(r)
r = gdstk.Reference(via_1, (132.5,51.7)); r.repetition = gdstk.Repetition(3, 2, v1=(3.4,0), v2=(0,3.4)); bgr_b.add(r)
bgr_b.add(gdstk.Label('VOUT', (380.9,274.1), layer=48, texttype=0))
bgr_b.add(gdstk.Label('IOUTP', (380.9,257.8), layer=49, texttype=0))
bgr_b.add(gdstk.Label('VDD', (0.2,279.8), layer=49, texttype=0))
bgr_b.add(gdstk.Label('VSS', (0.2,1), layer=49, texttype=0))

lib.write_gds('bgr_b.gds')
